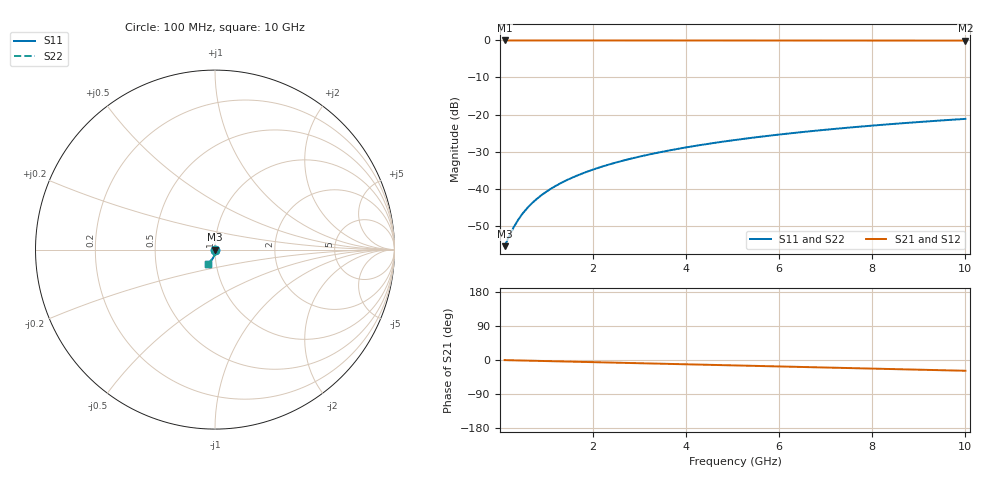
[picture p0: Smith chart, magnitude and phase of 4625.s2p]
# Hz S RI R 50.00
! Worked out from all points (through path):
!   100 points, 100 MHz to 10 GHz, reference 50 ohm
!   highest |S21| = -0.01 dB at 100 MHz (marker M1); lowest = -0.1 dB at 10 GHz (marker M2)
!   group delay of S21, straight-line fit = 7.89 ps
!   lowest |S11| = -55.5 dB at 100 MHz (marker M3), VSWR 1.00, Z = 50.1 - j0.0913 ohm
!   |S11| at or under -10 dB: start of sweep to end of sweep
!   |S22| runs from -55.5 to -21.2 dB; largest |S21 - S12| = 0
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1e8  0.00141 -0.000911  0.9986 -0.00493  0.9986 -0.00493  0.00141 -0.000911
2e8  0.00141 -0.00182  0.9985 -0.00986  0.9985 -0.00986  0.00141 -0.00182
3e8  0.00139 -0.00273  0.9984 -0.0148  0.9984 -0.0148  0.00139 -0.00273
4e8  0.00136 -0.00364  0.9983 -0.0197  0.9983 -0.0197  0.00136 -0.00364
5e8  0.00132 -0.00455  0.9982 -0.0246  0.9982 -0.0246  0.00132 -0.00455
6e8  0.00127 -0.00546  0.9981 -0.0296  0.9981 -0.0296  0.00127 -0.00546
7e8  0.00122 -0.00637  0.9979 -0.0345  0.9979 -0.0345  0.00122 -0.00637
9e8  0.00107 -0.00819  0.9975 -0.0444  0.9975 -0.0444  0.00107 -0.00819
1e9  0.00099 -0.0091  0.9972 -0.0493  0.9972 -0.0493  0.00099 -0.0091
1.2e9  0.000793 -0.0109  0.9967 -0.0591  0.9967 -0.0591  0.000793 -0.0109
1.5e9  0.000431 -0.0136  0.9956 -0.0739  0.9956 -0.0739  0.000431 -0.0136
1.8e9  -1.34e-05 -0.0163  0.9944 -0.0886  0.9944 -0.0886  -1.34e-05 -0.0163
2.1e9  -0.000538 -0.019  0.9929 -0.1034  0.9929 -0.1034  -0.000538 -0.019
2.5e9  -0.00136 -0.0226  0.9906 -0.123  0.9906 -0.123  -0.00136 -0.0226
2.9e9  -0.00233 -0.0261  0.9878 -0.1425  0.9878 -0.1425  -0.00233 -0.0261
3.4e9  -0.00373 -0.0305  0.9839 -0.1669  0.9839 -0.1669  -0.00373 -0.0305
4.2e9  -0.00642 -0.0373  0.9762 -0.2057  0.9762 -0.2057  -0.00642 -0.0373
5.1e9  -0.0101 -0.0447  0.9657 -0.2489  0.9657 -0.2489  -0.0101 -0.0447
5.9e9  -0.0139 -0.051  0.9547 -0.2869  0.9547 -0.2869  -0.0139 -0.051
6.7e9  -0.0182 -0.057  0.9421 -0.3245  0.9421 -0.3245  -0.0182 -0.057
8.4e9  -0.0288 -0.0685  0.9104 -0.4024  0.9104 -0.4024  -0.0288 -0.0685
1e10  -0.0405 -0.0776  0.8745 -0.473  0.8745 -0.473  -0.0405 -0.0776
